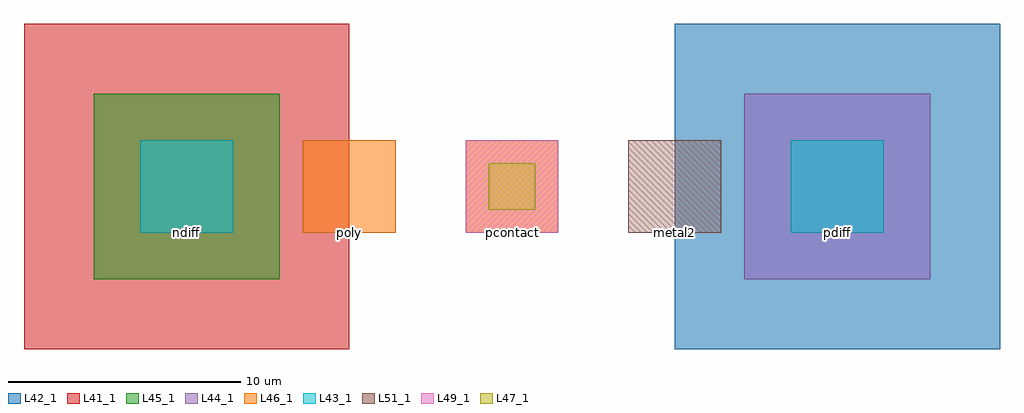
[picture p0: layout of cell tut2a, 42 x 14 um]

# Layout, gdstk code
import gdstk
lib = gdstk.Library(unit=1e-6, precision=1e-09)
def R(c, l, rs):  # rectangles x0, y0, x1, y1
    for r in rs: c.add(gdstk.rectangle(r[:2], r[2:], *l))
L41_1 = (41, 1)
L42_1 = (42, 1)
L43_1 = (43, 1)
L44_1 = (44, 1)
L45_1 = (45, 1)
L46_1 = (46, 1)
L47_1 = (47, 1)
L49_1 = (49, 1)
L51_1 = (51, 1)

tut2a = lib.new_cell('tut2a')
R(tut2a, L41_1, [(-45,-2,-31,12)])
R(tut2a, L42_1, [(-17,-2,-3,12)])
R(tut2a, L43_1, [(-40,3,-36,7), (-12,3,-8,7)])
R(tut2a, L44_1, [(-14,1,-6,9)])
R(tut2a, L45_1, [(-42,1,-34,9)])
R(tut2a, L46_1, [(-33,3,-29,7), (-26,3,-22,7)])
R(tut2a, L47_1, [(-25,4,-23,6)])
R(tut2a, L49_1, [(-26,3,-22,7)])
R(tut2a, L51_1, [(-19,3,-15,7)])
tut2a.add(gdstk.Label('ndiff', (-38,3), layer=43, texttype=1))
tut2a.add(gdstk.Label('poly', (-31,3), layer=46, texttype=1))
tut2a.add(gdstk.Label('pcontact', (-24,3), layer=49, texttype=1))
tut2a.add(gdstk.Label('metal2', (-17,3), layer=51, texttype=1))
tut2a.add(gdstk.Label('pdiff', (-10,3), layer=43, texttype=1))

lib.write_gds('tut2a.gds')
